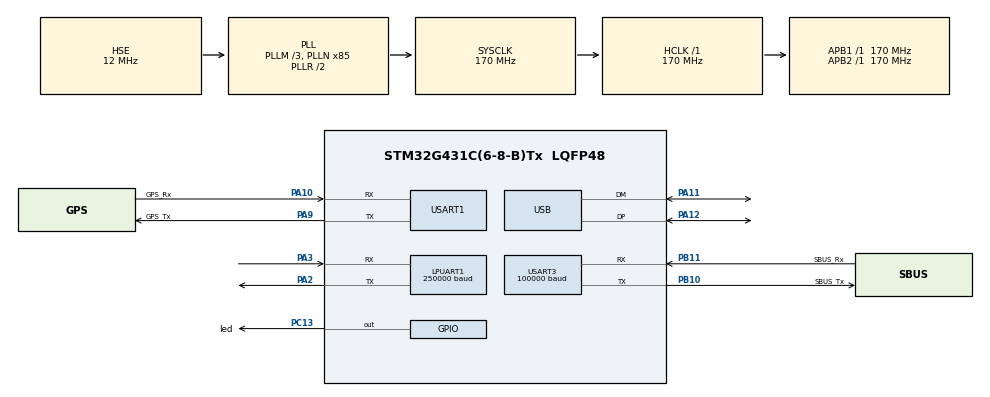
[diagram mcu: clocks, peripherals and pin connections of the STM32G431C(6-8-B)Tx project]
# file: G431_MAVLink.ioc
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Dma.LPUART1_RX.2.Direction=DMA_PERIPH_TO_MEMORY
Dma.LPUART1_RX.2.EventEnable=DISABLE
Dma.LPUART1_RX.2.Instance=DMA1_Channel4
Dma.LPUART1_RX.2.MemDataAlignment=DMA_MDATAALIGN_BYTE
Dma.LPUART1_RX.2.MemInc=DMA_MINC_ENABLE
Dma.LPUART1_RX.2.Mode=DMA_NORMAL
Dma.LPUART1_RX.2.PeriphDataAlignment=DMA_PDATAALIGN_BYTE
Dma.LPUART1_RX.2.PeriphInc=DMA_PINC_DISABLE
Dma.LPUART1_RX.2.Polarity=HAL_DMAMUX_REQ_GEN_RISING
Dma.LPUART1_RX.2.Priority=DMA_PRIORITY_LOW
Dma.LPUART1_RX.2.RequestNumber=1
Dma.LPUART1_RX.2.SignalID=NONE
Dma.LPUART1_RX.2.SyncEnable=DISABLE
Dma.LPUART1_RX.2.SyncPolarity=HAL_DMAMUX_SYNC_NO_EVENT
Dma.LPUART1_RX.2.SyncRequestNumber=1
Dma.LPUART1_RX.2.SyncSignalID=NONE
Dma.Request0=USART3_RX
Dma.Request1=USART3_TX
Dma.Request2=LPUART1_RX
Dma.Request3=USART1_TX
Dma.USART1_TX.3.Direction=DMA_MEMORY_TO_PERIPH
Dma.USART1_TX.3.EventEnable=DISABLE
Dma.USART1_TX.3.Instance=DMA1_Channel5
Dma.USART1_TX.3.MemDataAlignment=DMA_MDATAALIGN_BYTE
Dma.USART1_TX.3.MemInc=DMA_MINC_ENABLE
Dma.USART1_TX.3.Mode=DMA_NORMAL
Dma.USART1_TX.3.PeriphDataAlignment=DMA_PDATAALIGN_BYTE
Dma.USART1_TX.3.PeriphInc=DMA_PINC_DISABLE
Dma.USART1_TX.3.Polarity=HAL_DMAMUX_REQ_GEN_RISING
Dma.USART1_TX.3.Priority=DMA_PRIORITY_LOW
Dma.USART1_TX.3.RequestNumber=1
Dma.USART1_TX.3.SignalID=NONE
Dma.USART1_TX.3.SyncEnable=DISABLE
Dma.USART1_TX.3.SyncPolarity=HAL_DMAMUX_SYNC_NO_EVENT
Dma.USART1_TX.3.SyncRequestNumber=1
Dma.USART1_TX.3.SyncSignalID=NONE
Dma.USART3_RX.0.Direction=DMA_PERIPH_TO_MEMORY
Dma.USART3_RX.0.EventEnable=DISABLE
Dma.USART3_RX.0.Instance=DMA1_Channel3
Dma.USART3_RX.0.MemDataAlignment=DMA_MDATAALIGN_BYTE
Dma.USART3_RX.0.MemInc=DMA_MINC_ENABLE
Dma.USART3_RX.0.Mode=DMA_NORMAL
Dma.USART3_RX.0.PeriphDataAlignment=DMA_PDATAALIGN_BYTE
Dma.USART3_RX.0.PeriphInc=DMA_PINC_DISABLE
Dma.USART3_RX.0.Polarity=HAL_DMAMUX_REQ_GEN_RISING
Dma.USART3_RX.0.Priority=DMA_PRIORITY_VERY_HIGH
Dma.USART3_RX.0.RequestNumber=1
Dma.USART3_RX.0.SignalID=NONE
Dma.USART3_RX.0.SyncEnable=DISABLE
Dma.USART3_RX.0.SyncPolarity=HAL_DMAMUX_SYNC_NO_EVENT
Dma.USART3_RX.0.SyncRequestNumber=1
Dma.USART3_RX.0.SyncSignalID=NONE
Dma.USART3_TX.1.Direction=DMA_MEMORY_TO_PERIPH
Dma.USART3_TX.1.EventEnable=DISABLE
Dma.USART3_TX.1.Instance=DMA1_Channel2
Dma.USART3_TX.1.MemDataAlignment=DMA_MDATAALIGN_BYTE
Dma.USART3_TX.1.MemInc=DMA_MINC_ENABLE
Dma.USART3_TX.1.Mode=DMA_NORMAL
Dma.USART3_TX.1.PeriphDataAlignment=DMA_PDATAALIGN_BYTE
Dma.USART3_TX.1.PeriphInc=DMA_PINC_DISABLE
Dma.USART3_TX.1.Polarity=HAL_DMAMUX_REQ_GEN_RISING
Dma.USART3_TX.1.Priority=DMA_PRIORITY_HIGH
Dma.USART3_TX.1.RequestNumber=1
Dma.USART3_TX.1.SignalID=NONE
Dma.USART3_TX.1.SyncEnable=DISABLE
Dma.USART3_TX.1.SyncPolarity=HAL_DMAMUX_SYNC_NO_EVENT
Dma.USART3_TX.1.SyncRequestNumber=1
Dma.USART3_TX.1.SyncSignalID=NONE
IWDG.Prescaler=IWDG_PRESCALER_64
IWDG.Reload=500
IWDG.Window=4095
LPUART1.BaudRate=250000
Mcu.Family=STM32G4
Mcu.Name=STM32G431C(6-8-B)Tx
Mcu.Package=LQFP48
NVIC.DMA1_Channel2_IRQn=true\:0\:0\:false\:false\:true\:false\:true\:true
NVIC.DMA1_Channel3_IRQn=true\:0\:0\:false\:false\:true\:false\:true\:true
NVIC.DMA1_Channel4_IRQn=true\:0\:0\:false\:false\:true\:false\:true\:true
NVIC.DMA1_Channel5_IRQn=true\:0\:0\:false\:false\:true\:false\:true\:true
NVIC.LPUART1_IRQn=true\:3\:3\:true\:false\:true\:true\:true\:true
NVIC.PriorityGroup=NVIC_PRIORITYGROUP_2
NVIC.TIM1_UP_TIM16_IRQn=true\:0\:0\:false\:false\:true\:true\:true\:true
NVIC.TIM6_DAC_IRQn=true\:0\:3\:false\:false\:true\:true\:true\:true
NVIC.USART1_IRQn=true\:0\:2\:false\:false\:true\:true\:true\:true
NVIC.USART3_IRQn=true\:0\:1\:false\:false\:true\:true\:true\:true
NVIC.USB_LP_IRQn=true\:0\:0\:false\:false\:true\:false\:true\:true
PA10.GPIO_Label=GPS_Rx
PA10.GPIO_PuPd=GPIO_PULLUP
PA10.GPIO_Speed=GPIO_SPEED_FREQ_VERY_HIGH
PA10.Mode=Asynchronous
PA10.Signal=USART1_RX
PA11.Mode=Device
PA11.Signal=USB_DM
PA12.Mode=Device
PA12.Signal=USB_DP
PA13.Mode=Serial_Wire
PA13.Signal=SYS_JTMS-SWDIO
PA14.Mode=Serial_Wire
PA14.Signal=SYS_JTCK-SWCLK
PA2.Mode=Asynchronous
PA2.Signal=LPUART1_TX
PA3.Mode=Asynchronous
PA3.Signal=LPUART1_RX
PA9.GPIO_Label=GPS_Tx
PA9.GPIO_PuPd=GPIO_PULLUP
PA9.GPIO_Speed=GPIO_SPEED_FREQ_VERY_HIGH
PA9.Mode=Asynchronous
PA9.Signal=USART1_TX
PB10.GPIO_Label=SBUS_Tx
PB10.GPIO_PuPd=GPIO_PULLDOWN
PB10.GPIO_Speed=GPIO_SPEED_FREQ_VERY_HIGH
PB10.Mode=Asynchronous
PB10.Signal=USART3_TX
PB11.GPIO_Label=SBUS_Rx
PB11.GPIO_PuPd=GPIO_PULLDOWN
PB11.GPIO_Speed=GPIO_SPEED_FREQ_VERY_HIGH
PB11.Mode=Asynchronous
PB11.Signal=USART3_RX
PC13.GPIO_Label=led
PC13.GPIO_PuPd=GPIO_PULLUP
PC13.PinState=GPIO_PIN_SET
PC13.Signal=GPIO_Output
PF0-OSC_IN.Mode=HSE-External-Oscillator
PF0-OSC_IN.Signal=RCC_OSC_IN
PF1-OSC_OUT.Mode=HSE-External-Oscillator
PF1-OSC_OUT.Signal=RCC_OSC_OUT
ProjectManager.HeapSize=0x0
ProjectManager.StackSize=0x2000
ProjectManager.TargetToolchain=CMake
RCC.ADC12Freq_Value=170000000
RCC.AHBFreq_Value=170000000
RCC.APB1Freq_Value=170000000
RCC.APB1TimFreq_Value=170000000
RCC.APB2Freq_Value=170000000
RCC.APB2TimFreq_Value=170000000
RCC.CK48CLockSelection=RCC_USBCLKSOURCE_HSI48
RCC.CortexFreq_Value=170000000
RCC.EXTERNAL_CLOCK_VALUE=12288000
RCC.HCLKFreq_Value=170000000
RCC.HSE_VALUE=12000000
RCC.HSI48_VALUE=48000000
RCC.HSI_VALUE=16000000
RCC.LSE_VALUE=32768
RCC.PLLM=RCC_PLLM_DIV3
RCC.PLLN=85
RCC.PLLSourceVirtual=RCC_PLLSOURCE_HSE
RCC.SYSCLKFreq_VALUE=170000000
RCC.SYSCLKSource=RCC_SYSCLKSOURCE_PLLCLK
RCC.USBFreq_Value=48000000
RCC.VCOOutputFreq_Value=340000000
STMicroelectronics.X-CUBE-ALGOBUILD.1.4.0.LibraryCcDSPOoLibraryJjDSPOoLibrary=true
TIM16.AutoReloadPreload=TIM_AUTORELOAD_PRELOAD_ENABLE
TIM16.PeriodNoDither=14000-1
TIM16.Prescaler=170-1
TIM6.AutoReloadPreload=TIM_AUTORELOAD_PRELOAD_ENABLE
TIM6.PeriodNoDither=5000-1
TIM6.Prescaler=170-1
USART1.VirtualMode-Asynchronous=VM_ASYNC
USART3.BaudRate=100000
USART3.Parity=PARITY_EVEN
USART3.RxPinLevelInvertParam=ADVFEATURE_RXINV_ENABLE
USART3.StopBits=STOPBITS_2
USART3.TxPinLevelInvertParam=ADVFEATURE_TXINV_ENABLE
USART3.VirtualMode-Asynchronous=VM_ASYNC
USART3.WordLength=WORDLENGTH_9B
USB_DEVICE.CLASS_NAME_FS=CDC
USB_DEVICE.VirtualMode=Cdc
USB_DEVICE.VirtualModeFS=Cdc_FS
VP_CRC_VS_CRC.Mode=CRC_Activate
VP_IWDG_VS_IWDG.Mode=IWDG_Activate
VP_STMicroelectronics.X-CUBE-ALGOBUILD_VS_DSPOoLibraryJjLibrary_1.4.0_1.4.0.Mode=DSPOoLibraryJjLibrary
VP_SYS_VS_DBSignals.Mode=DisableDeadBatterySignals
VP_TIM16_VS_ClockSourceINT.Mode=Enable_Timer
VP_TIM6_VS_ClockSourceINT.Mode=Enable_Timer
VP_USB_DEVICE_VS_USB_DEVICE_CDC_FS.Mode=CDC_FS
board=custom

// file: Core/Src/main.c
/* USER CODE BEGIN Header */
/**
  ******************************************************************************
  * @file           : main.c
  * @brief          : Main program body
  ******************************************************************************
  * @attention
  *
  * Copyright (c) 2026 STMicroelectronics.
  * All rights reserved.
  *
  * This software is licensed under terms that can be found in the LICENSE file
  * in the root directory of this software component.
  * If no LICENSE file comes with this software, it is provided AS-IS.
  *
  ******************************************************************************
  */
/* USER CODE END Header */
#include "main.h"
#include "crc.h"
#include "dma.h"
#include "iwdg.h"
#include "usart.h"
#include "tim.h"
#include "usb_device.h"
#include "gpio.h"

/* USER CODE BEGIN Includes */
#include "mavlink.h"
#include "MavLinkAPP.h"
#include "ring_buffer.h"
#include "usart_it.h"
#include "sbus.h"
#include "usbd_cdc_if.h"
#include <string.h>
#include "sbus_task.h"
#include <stdarg.h>
#include "usmart.h"
#include "led.h"
#include "led_fsm.h"
#include "tim_it.h"
#include "pid.h"
#include "odom_gps.h"
#include "uav_pid.h"
/* USER CODE END Includes */

void SystemClock_Config(void);

int main(void)
{

  /* USER CODE BEGIN 1 */
  SCB->VTOR = 0x08008000;

  __enable_irq();
  /* USER CODE END 1 */

  /* MCU Configuration--------------------------------------------------------*/

  /* Reset of all peripherals, Initializes the Flash interface and the Systick. */
  HAL_Init();

  /* Configure the system clock */
  SystemClock_Config();

  /* Initialize all configured peripherals */
  MX_GPIO_Init();
  MX_DMA_Init();
  MX_USART3_UART_Init();
  MX_USB_Device_Init();
  MX_LPUART1_UART_Init();
  MX_TIM6_Init();
  MX_TIM16_Init();
  MX_USART1_UART_Init();
  MX_IWDG_Init();
  MX_CRC_Init();
  /* USER CODE BEGIN 2 */
  // 启动定时器6(位姿PID控制定时器)
  HAL_TIM_Base_Start_IT(&htim6);
  // 启动定时器16(14ms RC信号输出)
  HAL_TIM_Base_Start_IT(&htim16);

  // 初始化MavLink
  MavLink_Init();
  // 启动DMA接收
  HAL_UARTEx_ReceiveToIdle_DMA(&hlpuart1, LPUSART1_Struct.readBuffer, USART_RxBUFF_SIZE);
  HAL_UARTEx_ReceiveToIdle_DMA(&huart3, USART3_Struct.readBuffer, USART_RxBUFF_SIZE);
  // 初始化串口接收缓冲区
  RingBuff_Init(&u1TxRingBufferStruct);
  RingBuff_Init(&u3RxRingBufferStruct);

  // 初始化SBUS解码器
  SBUS_Init(&sbus_struct);
  // 设置初始时间戳
  SBUS_SetLastRxTime(&sbus_struct, HAL_GetTick());

  // 初始化LED
  led = LED_Init(led_GPIO_Port,  led_Pin,  LED_POLARITY_LOW);
  // 初始化LED状态机
  led_fsm = LED_FSM_Init(&led);
  // 初始设置500ms闪烁
  LED_FSM_SetBlinkEvent(&led_fsm,500,500,0);

  // PID参数初始化
  uav_pid_init();
  /* USER CODE END 2 */

  /* Infinite loop */
  while (1)
  {

    /* USER CODE BEGIN 3 */
    // 获取系统计数器
    uint32_t tick = HAL_GetTick();

    static uint32_t last_mavlink_time = 0;
    static uint32_t last_iwdg_time = 0;

    // 每秒打印一次系统运行时间
    if (tick - last_mavlink_time >= 1100)
    {
      last_mavlink_time = tick;

      // 打印系统运行时间
      // debug_info("Systemc Running tick: %lu ms\n", tick);
    }

    // 700ms喂狗
    if (tick - last_iwdg_time >= 700)
    {
      last_iwdg_time = tick;
      // 喂狗
      HAL_IWDG_Refresh(&hiwdg);
    }

    // 运行GPS状态机
    Odom_GPS_FSM_Run(tick);

    // 运行LED状态机
    LED_FSM_Run(&led_fsm, tick);

    //执行usmart扫描
    usmart_dev.scan();

    // 运行mavlink状态机
    MavLink_FSM(tick);

    // 解码SBUS
    SBUS_ParseTask();
  }

  /* USER CODE END 3 */
}

void SystemClock_Config(void)
{
  RCC_OscInitTypeDef RCC_OscInitStruct = {0};
  RCC_ClkInitTypeDef RCC_ClkInitStruct = {0};

  /** Configure the main internal regulator output voltage
  */
  HAL_PWREx_ControlVoltageScaling(PWR_REGULATOR_VOLTAGE_SCALE1_BOOST);

  /** Initializes the RCC Oscillators according to the specified parameters
  * in the RCC_OscInitTypeDef structure.
  */
  RCC_OscInitStruct.OscillatorType = RCC_OSCILLATORTYPE_HSI48|RCC_OSCILLATORTYPE_LSI
                              |RCC_OSCILLATORTYPE_HSE;
  RCC_OscInitStruct.HSEState = RCC_HSE_ON;
  RCC_OscInitStruct.LSIState = RCC_LSI_ON;
  RCC_OscInitStruct.HSI48State = RCC_HSI48_ON;
  RCC_OscInitStruct.PLL.PLLState = RCC_PLL_ON;
  RCC_OscInitStruct.PLL.PLLSource = RCC_PLLSOURCE_HSE;
  RCC_OscInitStruct.PLL.PLLM = RCC_PLLM_DIV3;
  RCC_OscInitStruct.PLL.PLLN = 85;
  RCC_OscInitStruct.PLL.PLLP = RCC_PLLP_DIV2;
  RCC_OscInitStruct.PLL.PLLQ = RCC_PLLQ_DIV2;
  RCC_OscInitStruct.PLL.PLLR = RCC_PLLR_DIV2;
  if (HAL_RCC_OscConfig(&RCC_OscInitStruct) != HAL_OK)
  {
    Error_Handler();
  }

  /** Initializes the CPU, AHB and APB buses clocks
  */
  RCC_ClkInitStruct.ClockType = RCC_CLOCKTYPE_HCLK|RCC_CLOCKTYPE_SYSCLK
                              |RCC_CLOCKTYPE_PCLK1|RCC_CLOCKTYPE_PCLK2;
  RCC_ClkInitStruct.SYSCLKSource = RCC_SYSCLKSOURCE_PLLCLK;
  RCC_ClkInitStruct.AHBCLKDivider = RCC_SYSCLK_DIV1;
  RCC_ClkInitStruct.APB1CLKDivider = RCC_HCLK_DIV1;
  RCC_ClkInitStruct.APB2CLKDivider = RCC_HCLK_DIV1;

  if (HAL_RCC_ClockConfig(&RCC_ClkInitStruct, FLASH_LATENCY_4) != HAL_OK)
  {
    Error_Handler();
  }
}

void Error_Handler(void)
{
  __disable_irq();
  while (1)
  {
  }
}
